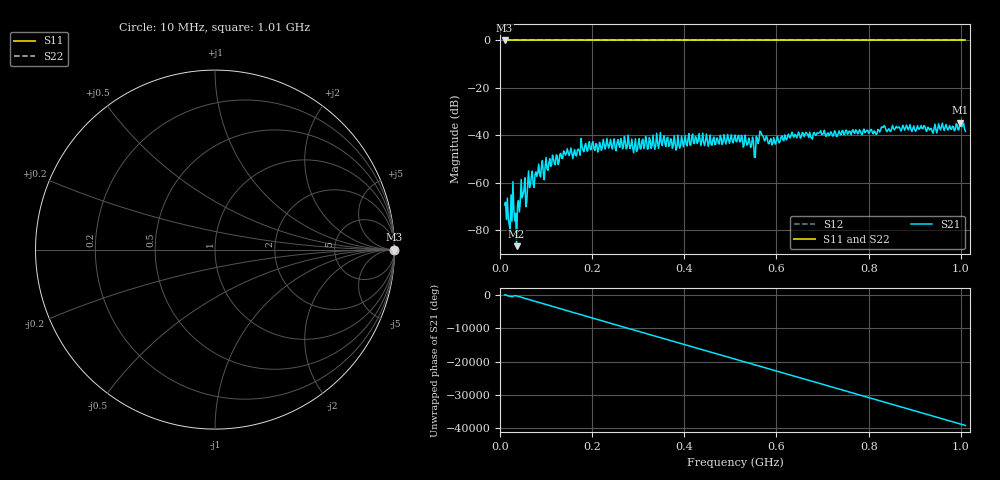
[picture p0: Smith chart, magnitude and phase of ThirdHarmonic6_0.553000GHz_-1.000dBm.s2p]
! 8/15/2025 5:32:54 PM
! C:\ANRITSUVNA\TEMP\TEMP.S2P
! CHANNEL.1
! TR.MEASUREMENT
! RAW.DATA
! RF.CORRECTION.OFF
! AVERAGING.OFF
! IF.BANDWIDTH: 5KHZ
! SWEEPTYPE:  FREQ.SWEEP(Linear)
! Reference Plane Port Info
! PORT:  PORT1  PORT2
! DISTANCE:  0  m  0  m
! TIME:  0  s  0  s
! PHASE.OFFSET:  0  deg.  0  deg.
! LOSS:  0  dB  0  dB
! REF.LOSS:  0  dB  0  dB
! REF.FREQ:  0  Hz  0  Hz
! Power Info
! POWER:  -20  dBm  -20  dBm
! EFF.POWER:  -20  dBm  -20  dBm
! SOURCE.ATTEN:  0  dB  0  dB
! TEST.ATTEN:  0  dB  0  dB
# GHZ S RI R 50.0
! FREQ.GHZ  S11RE  S11IM  S21RE  S21IM  S12RE  S12IM  S22RE  S22IM
!; PortSelection: Port_12
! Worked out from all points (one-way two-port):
!   501 points, 10 MHz to 1.01 GHz, reference 50 ohm
!   highest |S21| = -34.73 dB at 998 MHz (marker M1); lowest = -86.8 dB at 36 MHz (marker M2)
!   lowest |S11| = 0.0 dB at 10 MHz (marker M3)
!   |S11| at or under -10 dB: nowhere
!   |S22| runs from 0.0 to 0.0 dB; largest |S21 - S12| = 1
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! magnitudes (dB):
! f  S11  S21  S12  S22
! 10 MHz  0.0  -69.4  0.0  0.0
! 18 MHz  0.0  -75.3  0.0  0.0
! 22 MHz  0.0  -79.8  0.0  0.0
! 28 MHz  0.0  -59.5  0.0  0.0
! 36 MHz  0.0  -86.8  0.0  0.0
! 50 MHz  0.0  -64.9  0.0  0.0
! 54 MHz  0.0  -58.0  0.0  0.0
! 66 MHz  0.0  -60.8  0.0  0.0
! 142 MHz  0.0  -48.4  0.0  0.0
! 178 MHz  0.0  -44.6  0.0  0.0
! 274 MHz  0.0  -45.8  0.0  0.0
! 294 MHz  0.0  -41.5  0.0  0.0
! 344 MHz  0.0  -45.5  0.0  0.0
! 386 MHz  0.0  -39.9  0.0  0.0
! 510 MHz  0.0  -39.9  0.0  0.0
! 550 MHz  0.0  -42.2  0.0  0.0
! 568 MHz  0.0  -39.7  0.0  0.0
! 594 MHz  0.0  -41.0  0.0  0.0
! 678 MHz  0.0  -41.6  0.0  0.0
! 844 MHz  0.0  -37.2  0.0  0.0
! 998 MHz  0.0  -34.7  0.0  0.0
! 1.01 GHz  0.0  -38.3  0.0  0.0
